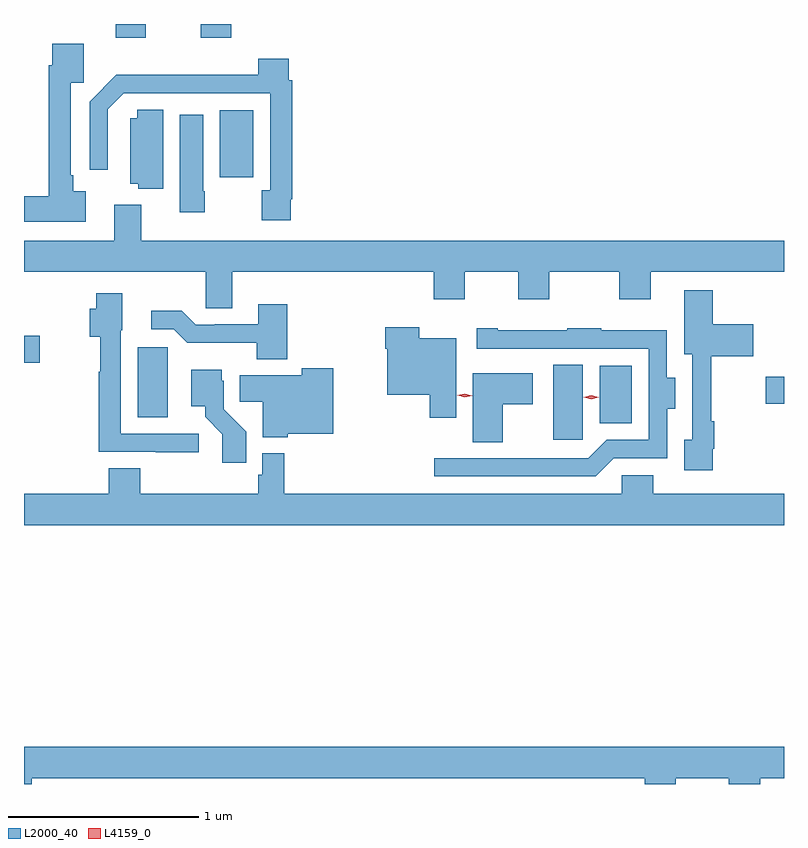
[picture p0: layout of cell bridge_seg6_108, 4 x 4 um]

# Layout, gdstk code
import gdstk
lib = gdstk.Library(unit=1e-6, precision=1e-09)
def R(c, l, rs):  # rectangles x0, y0, x1, y1
    for r in rs: c.add(gdstk.rectangle(r[:2], r[2:], *l))
def P(c, l, *ps):  # polygons
    for p in ps: c.add(gdstk.Polygon(p, *l))
L2000_40 = (2000, 40)
L4159_0 = (4159, 0)

bridge_seg6_108 = lib.new_cell('bridge_seg6_108')
R(bridge_seg6_108, L2000_40, [(462.365,993.072,462.52,993.467), (462.608,993.161,462.778,993.463), (460.178,993.19,460.336,993.561), (463.482,993.262,463.579,993.404), (459.579,993.479,459.661,993.621), (460.061,995.189,460.221,995.261), (460.51,995.189,460.67,995.261)])
P(bridge_seg6_108, L2000_40, [(459.904,994.382),(459.838,994.382),(459.838,994.465),(459.825,994.465),(459.825,994.953),(459.894,994.953),(459.894,995.158),(459.728,995.158),(459.728,995.045),(459.709,995.045),(459.709,994.355),(459.579,994.355),(459.579,994.22),(459.904,994.22)],
  [(460.984,994.339),(460.991,994.339),(460.991,994.964),(460.972,994.964),(460.972,995.077),(460.811,995.077),(460.811,994.994),(460.065,994.994),(459.924,994.852),(459.924,994.494),(460.02,994.494),(460.02,994.812),(460.104,994.896),(460.875,994.896),(460.875,994.387),(460.829,994.387),(460.829,994.227),(460.984,994.227)],
  [(460.312,994.811),(460.176,994.811),(460.176,994.764),(460.139,994.764),(460.139,994.421),(460.179,994.421),(460.179,994.394),(460.312,994.394)],
  [(460.785,994.558),(460.786,994.558),(460.786,994.807),(460.61,994.807),(460.61,994.455),(460.785,994.455)],
  [(460.53,994.381),(460.522,994.381),(460.522,994.783),(460.4,994.783),(460.4,994.269),(460.53,994.269)],
  [(460.675,993.956),(461.735,993.956),(461.735,993.813),(461.899,993.813),(461.899,993.956),(462.179,993.956),(462.179,993.813),(462.343,993.813),(462.343,993.956),(462.713,993.956),(462.713,993.813),(462.877,993.813),(462.877,993.956),(463.579,993.956),(463.579,994.12),(460.195,994.12),(460.195,994.309),(460.055,994.309),(460.055,994.12),(459.579,994.12),(459.579,993.956),(460.536,993.956),(460.536,993.766),(460.675,993.766)],
  [(463.204,993.025),(463.211,993.025),(463.211,993.169),(463.196,993.169),(463.196,993.512),(463.417,993.512),(463.417,993.682),(463.205,993.682),(463.205,993.859),(463.055,993.859),(463.055,993.524),(463.095,993.524),(463.095,993.073),(463.055,993.073),(463.055,992.913),(463.204,992.913)],
  [(460.498,993.105),(460.089,993.105),(460.089,993.648),(460.096,993.648),(460.096,993.844),(459.96,993.844),(459.96,993.762),(459.926,993.762),(459.926,993.614),(459.981,993.614),(459.981,993.43),(459.973,993.43),(459.973,993.009),(460.273,993.009),(460.273,993.007),(460.498,993.007)],
  [(460.964,993.787),(460.811,993.787),(460.811,993.681),(460.582,993.681),(460.582,993.678),(460.482,993.678),(460.409,993.751),(460.248,993.751),(460.248,993.654),(460.368,993.654),(460.439,993.584),(460.804,993.584),(460.804,993.497),(460.964,993.497)],
  [(461.854,993.607),(461.658,993.607),(461.658,993.664),(461.48,993.664),(461.48,993.551),(461.492,993.551),(461.492,993.311),(461.714,993.311),(461.714,993.189),(461.854,993.189)],
  [(462.684,992.976),(462.964,992.976),(462.964,993.236),(463.006,993.236),(463.006,993.4),(462.963,993.4),(462.963,993.649),(462.617,993.649),(462.617,993.661),(462.439,993.661),(462.439,993.649),(462.073,993.649),(462.073,993.661),(461.961,993.661),(461.961,993.552),(462.867,993.552),(462.867,993.072),(462.645,993.072),(462.549,992.976),(461.739,992.976),(461.739,992.88),(462.588,992.88)],
  [(460.968,993.104),(461.206,993.104),(461.206,993.448),(461.041,993.448),(461.041,993.412),(460.714,993.412),(460.714,993.274),(460.835,993.274),(460.835,993.086),(460.968,993.086)],
  [(460.748,993.114),(460.629,993.233),(460.629,993.384),(460.621,993.384),(460.621,993.442),(460.46,993.442),(460.46,993.248),(460.532,993.248),(460.532,993.193),(460.623,993.103),(460.623,992.952),(460.748,992.952)],
  [(462.1,993.26),(462.256,993.26),(462.256,993.424),(461.942,993.424),(461.942,993.061),(462.1,993.061)],
  [(463.579,992.788),(462.89,992.788),(462.89,992.886),(462.726,992.886),(462.726,992.788),(460.949,992.788),(460.949,993.001),(460.833,993.001),(460.833,992.889),(460.813,992.889),(460.813,992.788),(460.19,992.788),(460.19,992.924),(460.025,992.924),(460.025,992.788),(459.579,992.788),(459.579,992.624),(463.579,992.624)],
  [(459.619,991.292),(462.845,991.292),(462.845,991.261),(463.009,991.261),(463.009,991.292),(463.289,991.292),(463.289,991.261),(463.453,991.261),(463.453,991.292),(463.579,991.292),(463.579,991.456),(459.579,991.456),(459.579,991.261),(459.619,991.261)])
P(bridge_seg6_108, L4159_0, [(462.564,993.286),(462.524,993.296),(462.524,993.296),(462.524,993.296),(462.564,993.306),(462.605,993.297),(462.605,993.297),(462.605,993.296)],
  [(461.898,993.296),(461.859,993.306),(461.859,993.307),(461.859,993.307),(461.898,993.315),(461.938,993.305),(461.938,993.304),(461.938,993.304)])

lib.write_gds('bridge_seg6_108.gds')
